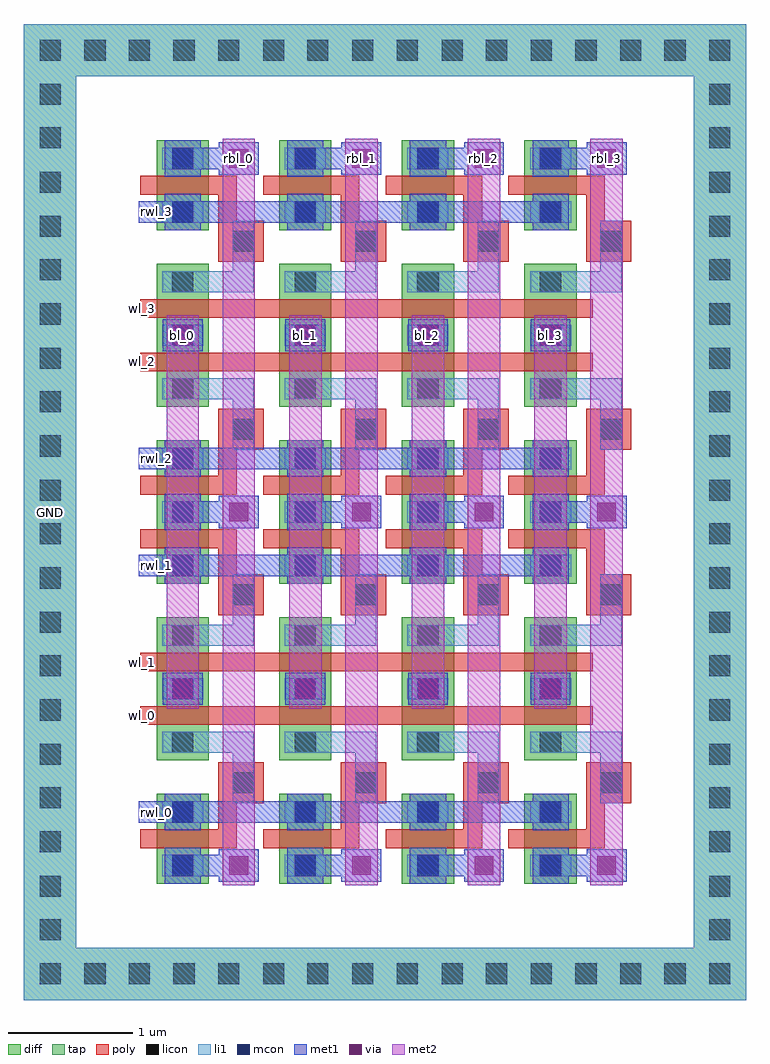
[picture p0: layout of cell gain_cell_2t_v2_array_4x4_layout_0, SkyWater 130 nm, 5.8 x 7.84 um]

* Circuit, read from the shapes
.subckt gain_cell_2t_v2_array_4x4_layout_0 GND bl_0 bl_1 bl_2 bl_3 rbl_0 rbl_1 rbl_2 rbl_3 rwl_0 rwl_1 rwl_2 rwl_3 wl_0 wl_1 wl_2 wl_3
XM1 rwl_0 n1 rbl_0 GND sky130_fd_pr__nfet_01v8 w=0.42 l=0.15
XM2 bl_0 wl_0 n1 GND sky130_fd_pr__nfet_01v8 w=0.42 l=0.15
XM3 n2 wl_1 bl_0 GND sky130_fd_pr__nfet_01v8 w=0.42 l=0.15
XM4 rbl_0 n2 rwl_1 GND sky130_fd_pr__nfet_01v8 w=0.42 l=0.15
XM5 rwl_2 n3 rbl_0 GND sky130_fd_pr__nfet_01v8 w=0.42 l=0.15
XM6 bl_0 wl_2 n3 GND sky130_fd_pr__nfet_01v8 w=0.42 l=0.15
XM7 n4 wl_3 bl_0 GND sky130_fd_pr__nfet_01v8 w=0.42 l=0.15
XM8 rbl_0 n4 rwl_3 GND sky130_fd_pr__nfet_01v8 w=0.42 l=0.15
XM9 rwl_0 n5 rbl_1 GND sky130_fd_pr__nfet_01v8 w=0.42 l=0.15
XM10 bl_1 wl_0 n5 GND sky130_fd_pr__nfet_01v8 w=0.42 l=0.15
XM11 n6 wl_1 bl_1 GND sky130_fd_pr__nfet_01v8 w=0.42 l=0.15
XM12 rbl_1 n6 rwl_1 GND sky130_fd_pr__nfet_01v8 w=0.42 l=0.15
XM13 rwl_2 n7 rbl_1 GND sky130_fd_pr__nfet_01v8 w=0.42 l=0.15
XM14 bl_1 wl_2 n7 GND sky130_fd_pr__nfet_01v8 w=0.42 l=0.15
XM15 n8 wl_3 bl_1 GND sky130_fd_pr__nfet_01v8 w=0.42 l=0.15
XM16 rbl_1 n8 rwl_3 GND sky130_fd_pr__nfet_01v8 w=0.42 l=0.15
XM17 rwl_0 n9 rbl_2 GND sky130_fd_pr__nfet_01v8 w=0.42 l=0.15
XM18 bl_2 wl_0 n9 GND sky130_fd_pr__nfet_01v8 w=0.42 l=0.15
XM19 n10 wl_1 bl_2 GND sky130_fd_pr__nfet_01v8 w=0.42 l=0.15
XM20 rbl_2 n10 rwl_1 GND sky130_fd_pr__nfet_01v8 w=0.42 l=0.15
XM21 rwl_2 n11 rbl_2 GND sky130_fd_pr__nfet_01v8 w=0.42 l=0.15
XM22 bl_2 wl_2 n11 GND sky130_fd_pr__nfet_01v8 w=0.42 l=0.15
XM23 n12 wl_3 bl_2 GND sky130_fd_pr__nfet_01v8 w=0.42 l=0.15
XM24 rbl_2 n12 rwl_3 GND sky130_fd_pr__nfet_01v8 w=0.42 l=0.15
XM25 rwl_0 n13 rbl_3 GND sky130_fd_pr__nfet_01v8 w=0.42 l=0.15
XM26 bl_3 wl_0 n13 GND sky130_fd_pr__nfet_01v8 w=0.42 l=0.15
XM27 n14 wl_1 bl_3 GND sky130_fd_pr__nfet_01v8 w=0.42 l=0.15
XM28 rbl_3 n14 rwl_1 GND sky130_fd_pr__nfet_01v8 w=0.42 l=0.15
XM29 rwl_2 n15 rbl_3 GND sky130_fd_pr__nfet_01v8 w=0.42 l=0.15
XM30 bl_3 wl_2 n15 GND sky130_fd_pr__nfet_01v8 w=0.42 l=0.15
XM31 n16 wl_3 bl_3 GND sky130_fd_pr__nfet_01v8 w=0.42 l=0.15
XM32 rbl_3 n16 rwl_3 GND sky130_fd_pr__nfet_01v8 w=0.42 l=0.15
.ends

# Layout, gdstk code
import gdstk
lib = gdstk.Library(unit=1e-6, precision=1e-09)
def R(c, l, rs):  # rectangles x0, y0, x1, y1
    for r in rs: c.add(gdstk.rectangle(r[:2], r[2:], *l))
def A(c, l, x, y, w, h, nx, ny, dx, dy):  # array of equal rectangles
    R(c, l, [(x+i*dx, y+j*dy, x+i*dx+w, y+j*dy+h) for i in range(nx) for j in range(ny)])
diff = (65, 20)
tap = (65, 44)
poly = (66, 20)
licon = (66, 44)
li1 = (67, 20)
mcon = (67, 44)
met1 = (68, 20)
via = (68, 44)
met2 = (69, 20)

gain_cell_2t_v2_array_4x = lib.new_cell('gain_cell_2t_v2_array_4x4_layout_0')
A(gain_cell_2t_v2_array_4x, diff, 0, 0, 0.42, 0.72, 4, 2, 0.985, 5.25)
A(gain_cell_2t_v2_array_4x, diff, 0, 0.99, 0.42, 1.15, 4, 3, 0.985, 1.42)
R(gain_cell_2t_v2_array_4x, tap, [(-1.065,-0.935,4.735,-0.515), (-1.065,-0.515,-0.645,6.485), (4.315,-0.515,4.735,6.485), (-1.065,6.485,4.735,6.905)])
A(gain_cell_2t_v2_array_4x, poly, -0.13, 0.285, 0.775, 0.15, 4, 2, 0.985, 2.41)
A(gain_cell_2t_v2_array_4x, poly, 0.495, 0.285, 0.15, 0.36, 4, 2, 0.985, 2.2)
A(gain_cell_2t_v2_array_4x, poly, 0.495, 0.645, 0.365, 0.33, 4, 2, 0.985, 1.51)
A(gain_cell_2t_v2_array_4x, poly, -0.13, 3.125, 0.775, 0.15, 4, 2, 0.985, 2.41)
A(gain_cell_2t_v2_array_4x, poly, 0.495, 3.125, 0.15, 0.36, 4, 2, 0.985, 2.2)
A(gain_cell_2t_v2_array_4x, poly, 0.495, 3.485, 0.365, 0.33, 4, 2, 0.985, 1.51)
R(gain_cell_2t_v2_array_4x, poly, [(-0.13,1.275,3.505,1.425), (-0.13,1.705,3.505,1.855), (-0.13,4.115,3.505,4.265), (-0.13,4.545,3.505,4.695)])
A(gain_cell_2t_v2_array_4x, licon, -0.225, -0.81, 0.17, 0.17, 4, 2, 0.36, 7.42)
A(gain_cell_2t_v2_array_4x, licon, 1.21, -0.81, 0.17, 0.17, 4, 2, 0.36, 7.42)
A(gain_cell_2t_v2_array_4x, licon, 2.645, -0.81, 0.17, 0.17, 4, 2, 0.36, 7.42)
A(gain_cell_2t_v2_array_4x, licon, -0.94, -0.105, 0.17, 0.17, 1, 3, 0, 0.355)
A(gain_cell_2t_v2_array_4x, licon, 4.44, -0.105, 0.17, 0.17, 1, 3, 0, 0.355)
A(gain_cell_2t_v2_array_4x, licon, 0.125, 0.06, 0.17, 0.17, 4, 2, 0.985, 0.43)
A(gain_cell_2t_v2_array_4x, licon, 0.61, 0.725, 0.17, 0.17, 4, 2, 0.985, 1.51)
A(gain_cell_2t_v2_array_4x, licon, -0.94, 0.955, 0.17, 0.17, 1, 3, 0, 0.355)
A(gain_cell_2t_v2_array_4x, licon, 4.44, 0.955, 0.17, 0.17, 1, 3, 0, 0.355)
A(gain_cell_2t_v2_array_4x, licon, 0.125, 1.05, 0.17, 0.17, 4, 3, 0.985, 0.43)
A(gain_cell_2t_v2_array_4x, licon, -0.94, 2.015, 0.17, 0.17, 1, 3, 0, 0.355)
A(gain_cell_2t_v2_array_4x, licon, 4.44, 2.015, 0.17, 0.17, 1, 3, 0, 0.355)
A(gain_cell_2t_v2_array_4x, licon, 0.125, 2.47, 0.17, 0.17, 4, 3, 0.985, 0.43)
A(gain_cell_2t_v2_array_4x, licon, -0.94, 3.075, 0.17, 0.17, 1, 3, 0, 0.355)
A(gain_cell_2t_v2_array_4x, licon, 4.44, 3.075, 0.17, 0.17, 1, 3, 0, 0.355)
A(gain_cell_2t_v2_array_4x, licon, 0.61, 3.565, 0.17, 0.17, 4, 2, 0.985, 1.51)
A(gain_cell_2t_v2_array_4x, licon, 0.125, 3.89, 0.17, 0.17, 4, 3, 0.985, 0.43)
A(gain_cell_2t_v2_array_4x, licon, -0.94, 4.135, 0.17, 0.17, 1, 3, 0, 0.355)
A(gain_cell_2t_v2_array_4x, licon, 4.44, 4.135, 0.17, 0.17, 1, 3, 0, 0.355)
A(gain_cell_2t_v2_array_4x, licon, -0.94, 5.195, 0.17, 0.17, 1, 3, 0, 0.355)
A(gain_cell_2t_v2_array_4x, licon, 4.44, 5.195, 0.17, 0.17, 1, 3, 0, 0.355)
A(gain_cell_2t_v2_array_4x, licon, 0.125, 5.31, 0.17, 0.17, 4, 2, 0.985, 0.43)
R(gain_cell_2t_v2_array_4x, licon, [(-0.94,-0.81,-0.77,-0.64), (-0.94,-0.81,-0.77,-0.64), (-0.58,-0.81,-0.41,-0.64), (4.08,-0.81,4.25,-0.64), (4.44,-0.81,4.61,-0.64), (4.44,-0.81,4.61,-0.64), (-0.94,-0.455,-0.77,-0.285), (4.44,-0.455,4.61,-0.285), (-0.94,6.255,-0.77,6.425), (4.44,6.255,4.61,6.425), (-0.94,6.61,-0.77,6.78), (-0.94,6.61,-0.77,6.78), (-0.58,6.61,-0.41,6.78), (4.08,6.61,4.25,6.78), (4.44,6.61,4.61,6.78), (4.44,6.61,4.61,6.78)])
A(gain_cell_2t_v2_array_4x, li1, 0.045, 0.06, 0.33, 0.17, 4, 2, 0.985, 0.43)
A(gain_cell_2t_v2_array_4x, li1, 0.61, 0.645, 0.17, 0.33, 4, 2, 0.985, 1.51)
A(gain_cell_2t_v2_array_4x, li1, 0.61, 0.81, 0.17, 0.41, 4, 2, 0.985, 1.185)
A(gain_cell_2t_v2_array_4x, li1, 0.045, 1.05, 0.33, 0.17, 4, 3, 0.985, 0.43)
A(gain_cell_2t_v2_array_4x, li1, 0.045, 1.05, 0.735, 0.17, 4, 2, 0.985, 0.86)
A(gain_cell_2t_v2_array_4x, li1, 0.045, 2.47, 0.33, 0.17, 4, 3, 0.985, 0.43)
A(gain_cell_2t_v2_array_4x, li1, 0.61, 3.485, 0.17, 0.33, 4, 2, 0.985, 1.51)
A(gain_cell_2t_v2_array_4x, li1, 0.61, 3.65, 0.17, 0.41, 4, 2, 0.985, 1.185)
A(gain_cell_2t_v2_array_4x, li1, 0.045, 3.89, 0.33, 0.17, 4, 3, 0.985, 0.43)
A(gain_cell_2t_v2_array_4x, li1, 0.045, 3.89, 0.735, 0.17, 4, 2, 0.985, 0.86)
A(gain_cell_2t_v2_array_4x, li1, 0.045, 5.31, 0.33, 0.17, 4, 2, 0.985, 0.43)
R(gain_cell_2t_v2_array_4x, li1, [(-1.065,-0.935,4.735,-0.515), (-1.065,-0.515,-0.645,6.485), (4.315,-0.515,4.735,6.485), (-1.065,6.485,4.735,6.905)])
A(gain_cell_2t_v2_array_4x, mcon, 0.125, 0.06, 0.17, 0.17, 4, 2, 0.985, 0.43)
A(gain_cell_2t_v2_array_4x, mcon, 0.125, 1.48, 0.17, 0.17, 4, 2, 0.985, 0.99)
A(gain_cell_2t_v2_array_4x, mcon, 0.125, 2.9, 0.17, 0.17, 4, 2, 0.985, 0.43)
A(gain_cell_2t_v2_array_4x, mcon, 0.125, 4.32, 0.17, 0.17, 4, 2, 0.985, 0.99)
A(gain_cell_2t_v2_array_4x, mcon, 0.125, 5.74, 0.17, 0.17, 4, 1, 0.985, 0)
A(gain_cell_2t_v2_array_4x, met1, 0.065, 0, 0.29, 0.29, 4, 2, 0.985, 0.43)
A(gain_cell_2t_v2_array_4x, met1, 0.5, 0.015, 0.32, 0.26, 4, 3, 0.985, 2.84)
A(gain_cell_2t_v2_array_4x, met1, 0.065, 0.06, 0.74, 0.17, 4, 3, 0.985, 2.84)
A(gain_cell_2t_v2_array_4x, met1, 0.05, 1.435, 0.32, 0.26, 4, 2, 0.985, 2.84)
A(gain_cell_2t_v2_array_4x, met1, 0.065, 2.41, 0.29, 0.29, 4, 3, 0.985, 0.43)
A(gain_cell_2t_v2_array_4x, met1, 0.065, 5.25, 0.29, 0.29, 4, 2, 0.985, 0.43)
R(gain_cell_2t_v2_array_4x, met1, [(-0.145,0.49,3.31,0.66), (-0.145,2.47,3.31,2.64), (-0.145,3.33,3.31,3.5), (-0.145,5.31,3.31,5.48)])
A(gain_cell_2t_v2_array_4x, via, 0.585, 0.07, 0.15, 0.15, 4, 3, 0.985, 2.84)
A(gain_cell_2t_v2_array_4x, via, 0.135, 1.49, 0.15, 0.15, 4, 2, 0.985, 2.84)
A(gain_cell_2t_v2_array_4x, met2, 0.53, -0.015, 0.26, 6, 4, 1, 0.985, 0)
A(gain_cell_2t_v2_array_4x, met2, 0.08, 1.405, 0.26, 3.16, 4, 1, 0.985, 0)
gain_cell_2t_v2_array_4x.add(gdstk.Label('wl_0', (-0.11,1.35), layer=66, texttype=5))
gain_cell_2t_v2_array_4x.add(gdstk.Label('wl_1', (-0.11,1.78), layer=66, texttype=5))
gain_cell_2t_v2_array_4x.add(gdstk.Label('wl_2', (-0.11,4.19), layer=66, texttype=5))
gain_cell_2t_v2_array_4x.add(gdstk.Label('wl_3', (-0.11,4.62), layer=66, texttype=5))
gain_cell_2t_v2_array_4x.add(gdstk.Label('GND', (-0.855,2.985), layer=67, texttype=5))
gain_cell_2t_v2_array_4x.add(gdstk.Label('rwl_0', (0,0.575), layer=68, texttype=5))
gain_cell_2t_v2_array_4x.add(gdstk.Label('rwl_1', (0,2.555), layer=68, texttype=5))
gain_cell_2t_v2_array_4x.add(gdstk.Label('rwl_2', (0,3.415), layer=68, texttype=5))
gain_cell_2t_v2_array_4x.add(gdstk.Label('rwl_3', (0,5.395), layer=68, texttype=5))
gain_cell_2t_v2_array_4x.add(gdstk.Label('bl_0', (0.21,4.405), layer=69, texttype=5))
gain_cell_2t_v2_array_4x.add(gdstk.Label('rbl_0', (0.66,5.825), layer=69, texttype=5))
gain_cell_2t_v2_array_4x.add(gdstk.Label('bl_1', (1.195,4.405), layer=69, texttype=5))
gain_cell_2t_v2_array_4x.add(gdstk.Label('rbl_1', (1.645,5.825), layer=69, texttype=5))
gain_cell_2t_v2_array_4x.add(gdstk.Label('bl_2', (2.18,4.405), layer=69, texttype=5))
gain_cell_2t_v2_array_4x.add(gdstk.Label('rbl_2', (2.63,5.825), layer=69, texttype=5))
gain_cell_2t_v2_array_4x.add(gdstk.Label('bl_3', (3.165,4.405), layer=69, texttype=5))
gain_cell_2t_v2_array_4x.add(gdstk.Label('rbl_3', (3.615,5.825), layer=69, texttype=5))

lib.write_gds('gain_cell_2t_v2_array_4x4_layout_0.gds')
